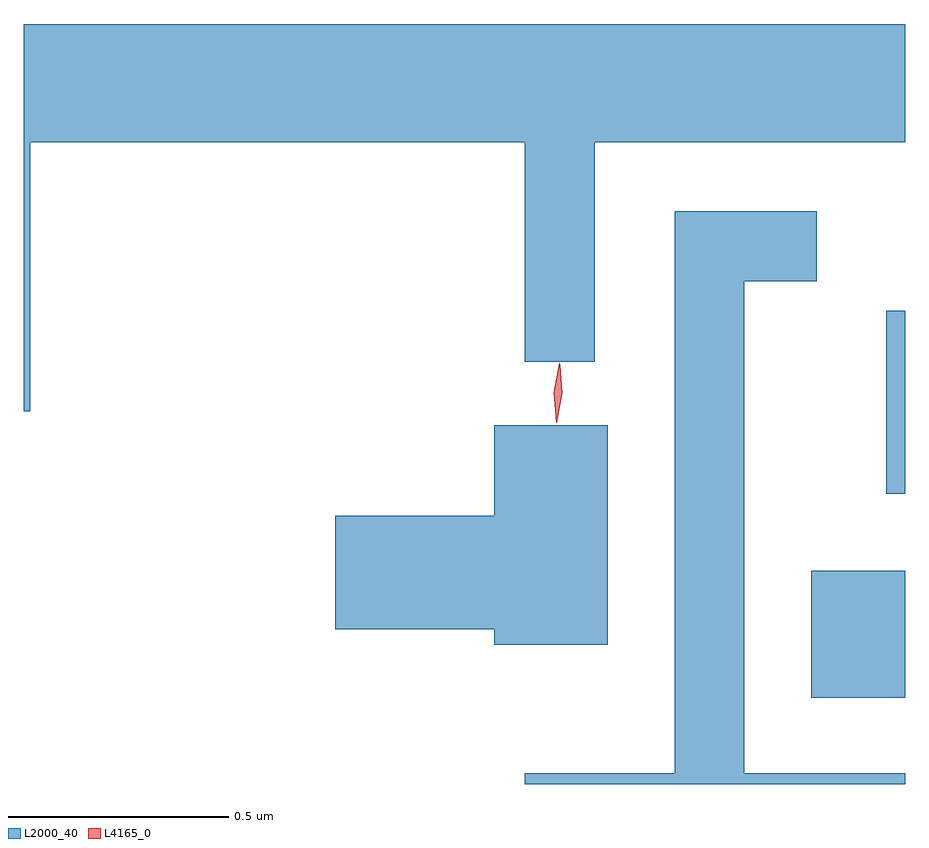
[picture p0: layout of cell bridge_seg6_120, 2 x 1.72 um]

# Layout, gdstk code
import gdstk
lib = gdstk.Library(unit=1e-6, precision=1e-09)
def R(c, l, rs):  # rectangles x0, y0, x1, y1
    for r in rs: c.add(gdstk.rectangle(r[:2], r[2:], *l))
def P(c, l, *ps):  # polygons
    for p in ps: c.add(gdstk.Polygon(p, *l))
L2000_40 = (2000, 40)
L4165_0 = (4165, 0)

bridge_seg6_120 = lib.new_cell('bridge_seg6_120')
R(bridge_seg6_120, L2000_40, [(1136.196,1606.496,1136.409,1606.784), (1136.366,1606.958,1136.409,1607.374)])
P(bridge_seg6_120, L2000_40, [(1134.424,1607.756),(1135.546,1607.756),(1135.546,1607.258),(1135.704,1607.258),(1135.704,1607.756),(1136.409,1607.756),(1136.409,1608.024),(1134.409,1608.024),(1134.409,1607.146),(1134.424,1607.146)],
  [(1136.409,1606.324),(1136.044,1606.324),(1136.044,1607.441),(1136.208,1607.441),(1136.208,1607.599),(1135.886,1607.599),(1135.886,1606.324),(1135.546,1606.324),(1135.546,1606.3),(1136.409,1606.3)],
  [(1135.734,1607.114),(1135.476,1607.114),(1135.476,1606.909),(1135.116,1606.909),(1135.116,1606.651),(1135.476,1606.651),(1135.476,1606.616),(1135.734,1606.616)])
P(bridge_seg6_120, L4165_0, [(1135.618,1607.118),(1135.618,1607.118),(1135.611,1607.187),(1135.624,1607.254),(1135.625,1607.255),(1135.625,1607.254),(1135.631,1607.186),(1135.618,1607.118)],
  [(1135.617,1607.121),(1135.617,1607.121),(1135.611,1607.187),(1135.624,1607.251),(1135.625,1607.252),(1135.626,1607.251),(1135.631,1607.186),(1135.618,1607.121)])

lib.write_gds('bridge_seg6_120.gds')
